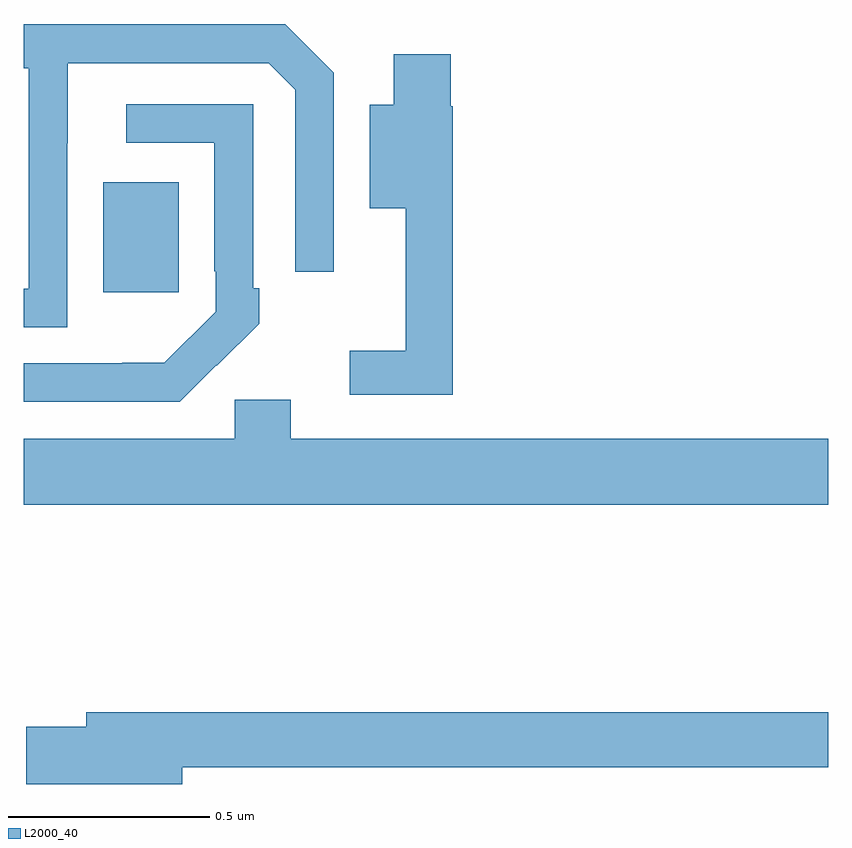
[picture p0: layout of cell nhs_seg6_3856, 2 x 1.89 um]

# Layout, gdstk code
import gdstk
lib = gdstk.Library(unit=1e-6, precision=1e-09)
def R(c, l, rs):  # rectangles x0, y0, x1, y1
    for r in rs: c.add(gdstk.rectangle(r[:2], r[2:], *l))
def P(c, l, *ps):  # polygons
    for p in ps: c.add(gdstk.Polygon(p, *l))
L2000_40 = (2000, 40)

nhs_seg6_3856 = lib.new_cell('nhs_seg6_3856')
R(nhs_seg6_3856, L2000_40, [(162.197,979.833,162.385,980.107)])
P(nhs_seg6_3856, L2000_40, [(162.108,980.203),(162.109,980.203),(162.109,980.403),(162.609,980.403),(162.675,980.337),(162.675,979.884),(162.771,979.884),(162.771,980.379),(162.65,980.5),(162,980.5),(162,980.39),(162.012,980.39),(162.012,979.842),(162,979.842),(162,979.746),(162.108,979.746)],
  [(163.067,980.295),(163.061,980.295),(163.061,980.425),(162.92,980.425),(162.92,980.299),(162.86,980.299),(162.86,980.042),(162.95,980.042),(162.95,979.687),(162.81,979.687),(162.81,979.578),(163.067,979.578)],
  [(162.479,979.651),(162.48,979.65),(162.585,979.755),(162.585,979.843),(162.57,979.843),(162.57,980.301),(162.255,980.301),(162.255,980.205),(162.474,980.205),(162.474,979.885),(162.477,979.885),(162.477,979.785),(162.349,979.657),(162.245,979.657),(162.245,979.656),(162,979.656),(162,979.56),(162.388,979.56)],
  [(164,979.468),(162.664,979.468),(162.664,979.566),(162.525,979.566),(162.525,979.468),(162,979.468),(162,979.304),(164,979.304)],
  [(162.394,978.652),(164,978.652),(164,978.788),(162.155,978.788),(162.155,978.752),(162.006,978.752),(162.006,978.61),(162.394,978.61)])

lib.write_gds('nhs_seg6_3856.gds')
